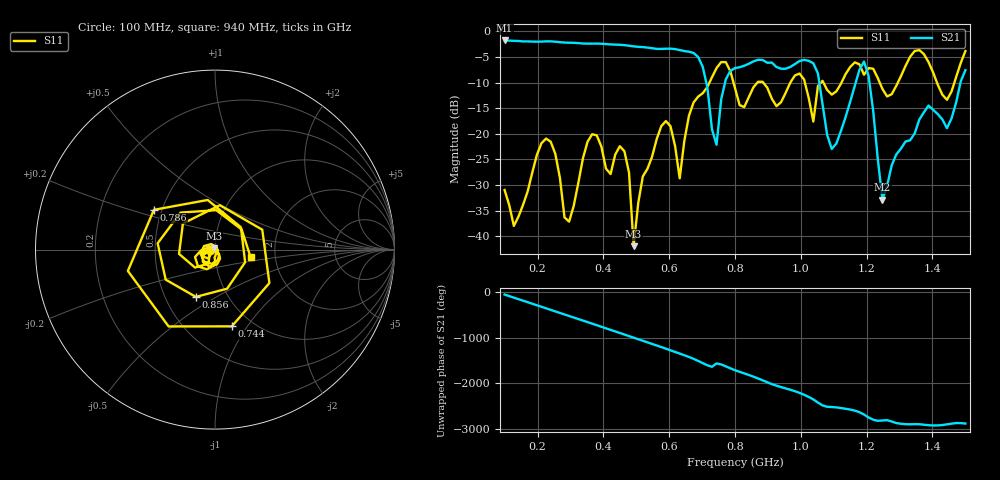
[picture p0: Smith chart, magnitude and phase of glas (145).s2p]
! NanoVNA-App
! Date: 2025-09-25 15:56:36
! Start: 100MHz Stop: 1,5GHz Points: 101
! S-Parameter data: F S11 S21 S12 S22
# Hz S RI R 50
!  Frequency  S11_Real  S11_Imag  S21_Real  S21_Imag  S12_Real  S12_Imag  S22_Real  S22_Imag
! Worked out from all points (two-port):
!   101 points, 100 MHz to 1.5 GHz, reference 50 ohm
!   highest |S21| = -1.80 dB at 100 MHz (marker M1); lowest = -32.8 dB at 1.248 GHz (marker M2)
!   |S21| within 3 dB of the highest: start of sweep to 684.1 MHz
!   lowest |S11| = -41.9 dB at 492 MHz (marker M3), VSWR 1.02, Z = 49.5 + j0.627 ohm
!   |S11| at or under -10 dB: start of sweep to 722.5 MHz; 795.4 MHz to 868.1 MHz (72.71 MHz wide, 8.74 % of centre); 885.7 MHz to 968.1 MHz (82.37 MHz wide, 8.89 % of centre)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
!   S12 and S22 are empty: the file has one direction only
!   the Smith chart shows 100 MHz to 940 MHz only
!   S11 on the Smith chart (normalised r, x): 100 MHz: 0.95, -0.01; 744 MHz: 0.80, -0.85; 786 MHz: 0.45, +0.24; 856 MHz: 0.71, -0.41; 940 MHz: 1.49, -0.14
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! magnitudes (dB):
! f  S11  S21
! 100 MHz  -31.0  -1.8
! 128 MHz  -37.9  -1.9
! 226 MHz  -20.9  -2.0
! 296 MHz  -37.1  -2.2
! 338 MHz  -24.8  -2.4
! 464 MHz  -23.4  -2.7
! 492 MHz  -41.9  -3.0
! 576 MHz  -18.5  -3.5
! 632 MHz  -28.7  -3.7
! 702 MHz  -12.1  -6.9
! 744 MHz  -7.2  -22.1
! 786 MHz  -7.8  -7.7
! 800 MHz  -11.1  -7.2
! 856 MHz  -10.9  -5.9
! 940 MHz  -13.8  -7.3
! 996 MHz  -8.3  -5.8
! 1.038 GHz  -17.6  -6.3
! 1.094 GHz  -12.4  -22.9
! 1.192 GHz  -8.5  -5.9
! 1.248 GHz  -11.3  -32.8
! 1.276 GHz  -12.3  -26.2
! 1.5 GHz  -3.9  -7.6
